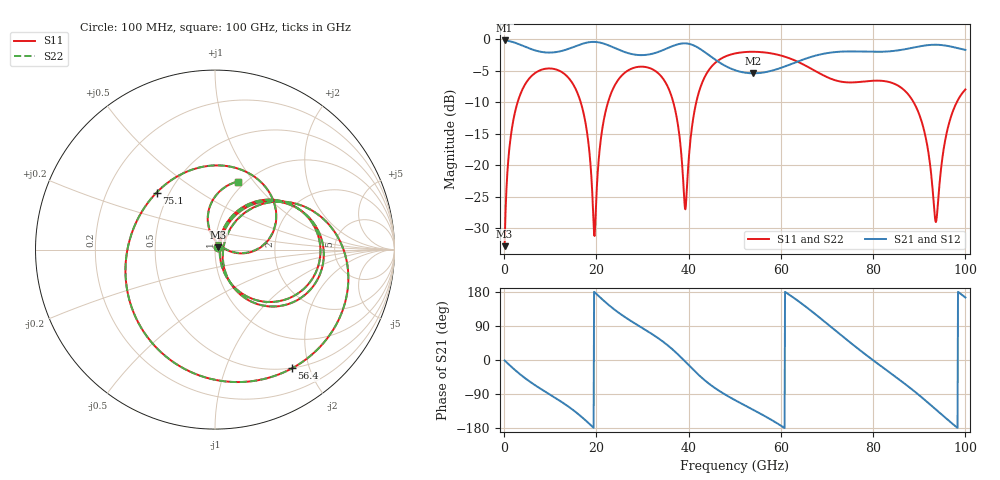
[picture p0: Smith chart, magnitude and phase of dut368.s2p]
! Touchstone file exported from HFSS 2026.1.0
!  File:  C:/ffzhzh/LocalFiles/Ansys_Project_Files/temp_train_TSV_RDL_368_1783713023_44652.aedt
!  Generated:  03:58:17 AM Jul 11, 2026
!  Design:  TSV_RDL
!  Project:  temp_train_TSV_RDL_368_1783713023_44652
! Variables:
!  h_bsmrdl = 3.12um
!  h_ox = 20um
!  h_rdl = 5um
!  h_sub = 79.2um
!  h_tmrdl = 3.37um
!  h_tsv = 79.2um
!  h_via = 3um
!  l_bsmrdl = 619.29um
!  l_sub = 3022.82um
!  l_tmrdl = 162.19um
!  m_sub = 200um
!  pitch = 49.72um
!  r_tsv = 8.52um
!  s_tmrdl = 10um
!  w_bsmrdl = 14.38um
!  w_sub = 500um
!  w_tmrdl = 24.35um
!  x_tsv_center1 = 174.365um
!  x_tsv_center2 = 808.035um
!  x_tsv_center3 = 994.575um
!  x_tsv_center4 = 1628.245um
!  x_tsv_center5 = 1814.785um
!  x_tsv_center6 = 2448.455um
# GHz S MA R 50.000000
! Terminal data exported
! Port[1] = TM_RDL1_1_T1
! Port[2] = TM_RDL5_1_T1
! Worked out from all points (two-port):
!   1000 points, 100 MHz to 100 GHz, reference 50 ohm
!   highest |S21| = -0.17 dB at 100 MHz (marker M1); lowest = -5.4 dB at 54 GHz (marker M2)
!   |S21| within 3 dB of the highest: start of sweep to 45.65 GHz; 64.96 GHz to end of sweep
!   lowest |S11| = -32.9 dB at 100 MHz (marker M3), VSWR 1.05, Z = 51.9 + j1.28 ohm
!   |S11| at or under -10 dB: 16.6 GHz to 22.52 GHz (5.916 GHz wide, 30.2 % of centre); 36.68 GHz to 41.65 GHz (4.972 GHz wide, 12.7 % of centre); 88.78 GHz to 98.12 GHz (9.342 GHz wide, 10 % of centre) (the widest 3 of 4)
!   |S22| runs from -32.9 to -2.0 dB; largest |S21 - S12| = 1.6e-14
!   S11 on the Smith chart (normalised r, x): 100 MHz: 1.04, +0.03; 56.4 GHz: 0.50, -1.73; 75.1 GHz: 0.43, +0.34; 100 GHz: 0.93, +0.84
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0.1  0.02271 32.9  0.9811 -1.2  0.9811 -1.2  0.02271 32.9
! Gamma 0 0 0 0
! Port Impedance 50 0 50 0
1.7  0.1978 64.0  0.9574 -19.3  0.9574 -19.3  0.1978 64.0
4.8  0.4547 36.7  0.8668 -50.4  0.8668 -50.4  0.4547 36.7
10.6  0.5844 -7.5  0.7881 -96.3  0.7881 -96.3  0.5844 -7.5
16.8  0.2984 -57.4  0.9191 -150.2  0.9191 -150.2  0.2984 -57.5
19.6  0.02736 4.8  0.9556 178.8  0.9556 178.8  0.02648 4.9
21.3  0.1972 60.8  0.933 159.7  0.933 159.7  0.197 61.0
23.6  0.4044 41.8  0.8664 136.0  0.8664 136.0  0.4043 41.9
33.4  0.5385 -31.5  0.7946 57.5  0.7946 57.5  0.5385 -31.4
37  0.2837 -60.9  0.8991 22.6  0.8991 22.6  0.2837 -60.7
39.3  0.04461 -0.8  0.9304 -4.8  0.9304 -4.8  0.04586 -0.9
42.6  0.4204 39.4  0.835 -44.2  0.835 -44.2  0.4205 39.2
50.1  0.774 -17.7  0.5685 -106.2  0.5685 -106.2  0.774 -17.8
54  0.7975 -41.8  0.5378 -131.4  0.5378 -131.4  0.7975 -41.9
56.4  0.7883 -57.1  0.5473 -147.3  0.5473 -147.3  0.7883 -57.1
66.7  0.5813 -139.5  0.7292 128.4  0.7292 128.4  0.5815 -139.4
75.1  0.4548 135.7  0.8028 45.4  0.8028 45.4  0.455 136.0
83.4  0.459 58.9  0.8032 -31.3  0.8032 -31.3  0.4591 59.2
90.1  0.2471 1.7  0.8808 -94.1  0.8808 -94.1  0.2472 2.3
93.6  0.03529 48.9  0.9071 -130.8  0.9071 -130.8  0.0373 49.3
96.2  0.1984 101.5  0.8869 -158.2  0.8869 -158.2  0.1989 101.1
100  0.3998 71.5  0.8255 165.0  0.8255 165.0  0.4 71.4
